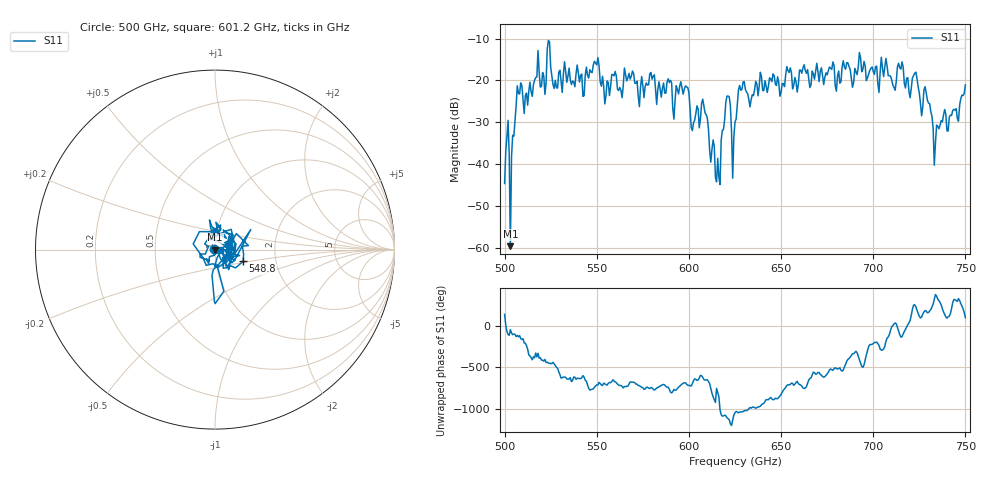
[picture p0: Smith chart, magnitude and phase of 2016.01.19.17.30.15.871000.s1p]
!Created with skrf (http://scikit-rf.org).
# GHz S RI R 50.0
!freq ReS11 ImS11
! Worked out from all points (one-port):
!   401 points, 500 GHz to 750 GHz, reference 50 ohm
!   lowest |S11| = -59.6 dB at 503.1 GHz (marker M1), VSWR 1.00, Z = 50.1 - j0.074 ohm
!   |S11| at or under -10 dB: start of sweep to end of sweep
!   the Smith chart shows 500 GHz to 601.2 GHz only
!   S11 on the Smith chart (normalised r, x): 500 GHz: 0.99, +0.01; 548.8 GHz: 1.36, -0.18; 601.2 GHz: 1.06, -0.01
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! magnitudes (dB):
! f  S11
! 500 GHz  -44.6
! 501.2 GHz  -33.5
! 503.1 GHz  -59.6
! 508.1 GHz  -23.3
! 521.2 GHz  -19.0
! 524.4 GHz  -10.8
! 527.5 GHz  -19.9
! 531.2 GHz  -22.9
! 548.8 GHz  -15.4
! 562.5 GHz  -21.7
! 568.8 GHz  -19.0
! 593.8 GHz  -22.2
! 598.8 GHz  -21.5
! 601.2 GHz  -31.3
! 608.1 GHz  -26.2
! 615.6 GHz  -38.6
! 620.6 GHz  -23.8
! 625 GHz  -29.9
! 628.8 GHz  -22.2
! 656.2 GHz  -22.0
! 687.5 GHz  -17.4
! 705.6 GHz  -19.1
! 711.2 GHz  -21.6
! 715 GHz  -17.3
! 718.8 GHz  -19.3
! 728.8 GHz  -23.0
! 734.4 GHz  -30.7
! 750 GHz  -21.1
